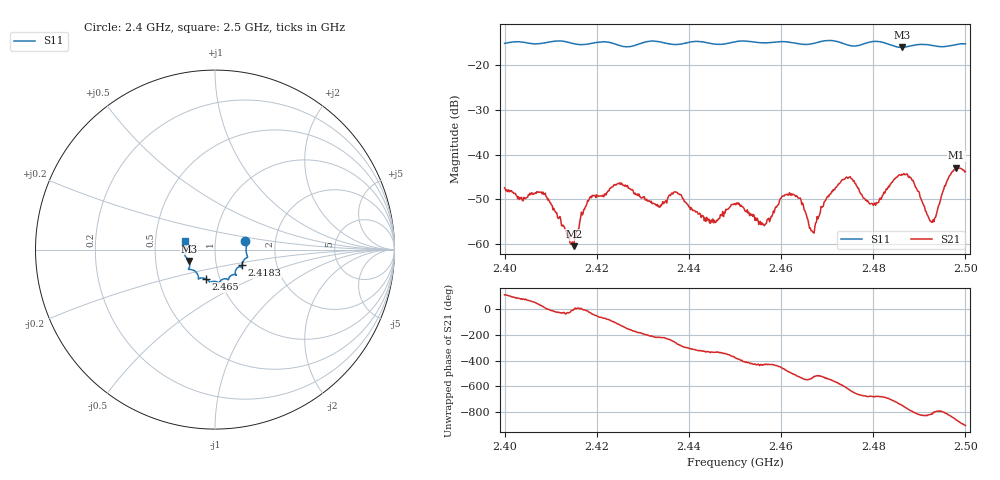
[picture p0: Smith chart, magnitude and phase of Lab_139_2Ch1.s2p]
# Hz S RI R 50
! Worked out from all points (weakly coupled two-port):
!   601 points, 2.4 GHz to 2.5 GHz, reference 50 ohm
!   highest |S21| = -42.92 dB at 2.498 GHz (marker M1); lowest = -60.4 dB at 2.415 GHz (marker M2)
!   lowest |S11| = -16.0 dB at 2.4862 GHz (marker M3), VSWR 1.38, Z = 37.1 - j4.82 ohm
!   |S11| at or under -10 dB: start of sweep to end of sweep
!   S12 and S22 are empty: the file has one direction only
!   S11 on the Smith chart (normalised r, x): 2.4 GHz: 1.40, +0.13; 2.4183 GHz: 1.33, -0.24; 2.465 GHz: 0.86, -0.29; 2.5 GHz: 0.71, +0.07
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2.4e9  0.1692 0.0457  -0.00166 0.00393  0 0  0 0
2.408333e9  0.1751 -0.0197  0.00359 0.00132  0 0  0 0
2.415e9  0.1655 -0.0529  0.000952 -5.04e-06  0 0  0 0
2.416667e9  0.155 -0.0683  0.00227 0.000258  0 0  0 0
2.418333e9  0.1499 -0.0869  0.00291 -0.00126  0 0  0 0
2.425e9  0.1343 -0.0967  -0.00259 -0.00411  0 0  0 0
2.433333e9  0.1168 -0.1415  -0.0021 0.00158  0 0  0 0
2.437333e9  0.087 -0.1461  -0.000314 0.00379  0 0  0 0
2.445e9  0.062 -0.1624  0.00159 0.000806  0 0  0 0
2.45e9  0.0251 -0.1808  0.00274 -0.000779  0 0  0 0
2.456167e9  -0.00255 -0.1772  0.000579 -0.00157  0 0  0 0
2.460833e9  -0.0299 -0.1803  -0.00126 -0.00333  0 0  0 0
2.465e9  -0.0527 -0.1622  -0.00242 0.000193  0 0  0 0
2.466667e9  -0.0712 -0.1577  -0.00141 -0.000125  0 0  0 0
2.473667e9  -0.094 -0.1455  -0.00271 0.00456  0 0  0 0
2.479667e9  -0.1458 -0.1105  0.00215 0.00189  0 0  0 0
2.483333e9  -0.142 -0.0959  0.00402 0.00191  0 0  0 0
2.486167e9  -0.1447 -0.0633  0.00546 -0.00259  0 0  0 0
2.4885e9  -0.1599 -0.0432  0.00135 -0.00496  0 0  0 0
2.492667e9  -0.165 -0.0221  -9.46e-05 -0.00176  0 0  0 0
2.498e9  -0.1664 0.0359  -0.00556 -0.00449  0 0  0 0
2.5e9  -0.1669 0.0471  -0.00648 0.000458  0 0  0 0
